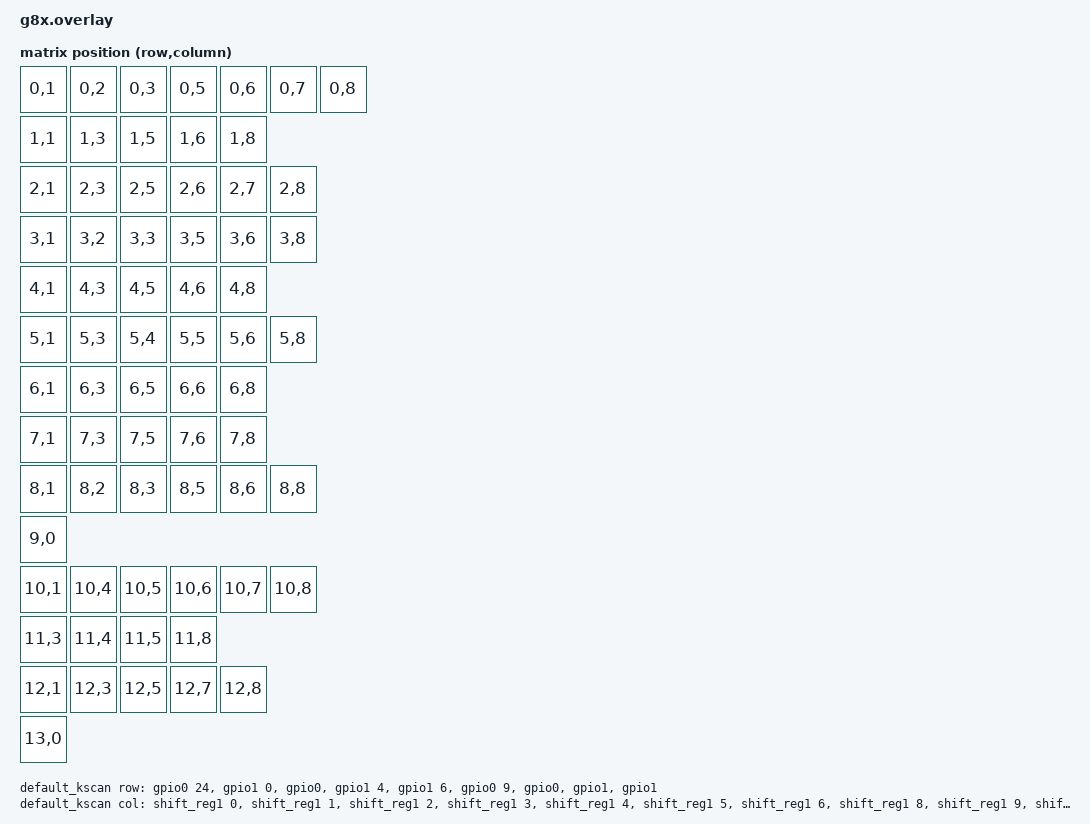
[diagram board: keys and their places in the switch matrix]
#include <dt-bindings/zmk/matrix_transform.h>

&pinctrl {
    spi1_default: spi1_default {
        group1 {
            psels = <NRF_PSEL(SPIM_SCK, 0, 20)>,
                    <NRF_PSEL(SPIM_MOSI, 0, 17)>;
        };
    };
};

&spi1 {
    status = "okay";

    cs-gpios = <&gpio0 22 GPIO_ACTIVE_LOW>;

    shift_reg1: 595@0 {
        compatible = "zmk,gpio-595";
        status = "okay";
        gpio-controller;
        spi-max-frequency = <200000>;
        reg = <0>;
        #gpio-cells = <2>;
        ngpios = <16>;
    };
};

/ {
    chosen {
        zmk,kscan = &default_kscan;
        zmk,matrix_transform = &default_transform;
    };

    default_kscan: kscan {
        compatible = "zmk,kscan-gpio-matrix";
        debounce-press-ms = <1>;
        debounce-release-ms = <5>;

        diode-direction = "col2row";

        col-gpios = 
            <&shift_reg1 0 (GPIO_ACTIVE_HIGH)>,
            <&shift_reg1 1 (GPIO_ACTIVE_HIGH)>,
            <&shift_reg1 2 (GPIO_ACTIVE_HIGH)>,
            <&shift_reg1 3 (GPIO_ACTIVE_HIGH)>,
            <&shift_reg1 4 (GPIO_ACTIVE_HIGH)>,
            <&shift_reg1 5 (GPIO_ACTIVE_HIGH)>,
            <&shift_reg1 6 (GPIO_ACTIVE_HIGH)>,
            <&shift_reg1 8 (GPIO_ACTIVE_HIGH)>,
            <&shift_reg1 9 (GPIO_ACTIVE_HIGH)>,
            <&shift_reg1 10 (GPIO_ACTIVE_HIGH)>,
            <&shift_reg1 11 (GPIO_ACTIVE_HIGH)>,
            <&shift_reg1 12 (GPIO_ACTIVE_HIGH)>,
            <&shift_reg1 13 (GPIO_ACTIVE_HIGH)>,
            <&shift_reg1 14 (GPIO_ACTIVE_HIGH)>;


        row-gpios = 
            <&gpio0 24 (GPIO_ACTIVE_HIGH | GPIO_PULL_DOWN)>,
            <&gpio1 0 (GPIO_ACTIVE_HIGH | GPIO_PULL_DOWN)>,
            <&gpio0 11( GPIO_ACTIVE_HIGH | GPIO_PULL_DOWN)>,
            <&gpio1 4 (GPIO_ACTIVE_HIGH | GPIO_PULL_DOWN)>,
            <&gpio1 6 (GPIO_ACTIVE_HIGH | GPIO_PULL_DOWN)>,
            <&gpio0 9 (GPIO_ACTIVE_HIGH | GPIO_PULL_DOWN)>,
            <&gpio0 10( GPIO_ACTIVE_HIGH | GPIO_PULL_DOWN)>,
            <&gpio1 11( GPIO_ACTIVE_HIGH | GPIO_PULL_DOWN)>,
            <&gpio1 13( GPIO_ACTIVE_HIGH | GPIO_PULL_DOWN)>;
    };

    default_transform: matrix_transform {
        compatible = "zmk,matrix-transform";
        rows = <9>;
        columns = <14>;

        map = <
        
        RC(0,1)  RC(0,2)  RC(0,3)  RC(0,5)  RC(0,6)  RC(0,7)  RC(0,8)
        RC(1,1)  RC(1,3)  RC(1,5)  RC(1,6)  RC(1,8)
        RC(2,1)  RC(2,3)  RC(2,5)  RC(2,6)  RC(2,7)  RC(2,8)
        RC(3,1)  RC(3,2)  RC(3,3)  RC(3,5)  RC(3,6)  RC(3,8)
        RC(4,1)  RC(4,3)  RC(4,5)  RC(4,6)  RC(4,8)
        RC(5,1)  RC(5,3)  RC(5,4)  RC(5,5)  RC(5,6)  RC(5,8)
        RC(6,1)  RC(6,3)  RC(6,5)  RC(6,6)  RC(6,8)
        RC(7,1)  RC(7,3)  RC(7,5)  RC(7,6)  RC(7,8)
        RC(8,1)  RC(8,2)  RC(8,3)  RC(8,5)  RC(8,6)  RC(8,8)
        RC(9,0)
        RC(10,1) RC(10,4) RC(10,5) RC(10,6) RC(10,7) RC(10,8)
        RC(11,3) RC(11,4) RC(11,5) RC(11,8)
        RC(12,1) RC(12,3) RC(12,5) RC(12,7) RC(12,8)
        RC(13,0)
        >;
    };
};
